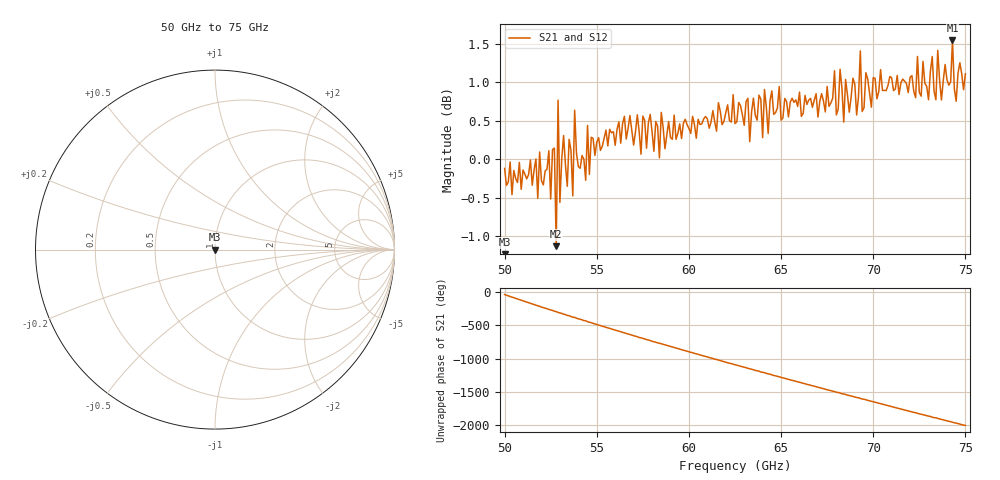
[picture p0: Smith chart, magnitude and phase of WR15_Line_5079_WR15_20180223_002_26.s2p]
# GHZ S RI R 50
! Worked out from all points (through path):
!   251 points, 50 GHz to 75 GHz, reference 50 ohm
!   highest |S21| = 1.54 dB at 74.3 GHz (marker M1); lowest = -1.1 dB at 52.8 GHz (marker M2)
!   lowest |S11| = - dB at 50 GHz (marker M3), VSWR 1.00, Z = 50 - j3.7e-16 ohm
!   |S11| at or under -10 dB: start of sweep to end of sweep
!   |S22| runs from - to - dB; largest |S21 - S12| = 1e-14
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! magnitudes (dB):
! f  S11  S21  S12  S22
! 50 GHz  -  -0.1  -0.1  -
! 52.4 GHz  -  0.1  0.1  -
! 52.5 GHz  -  -0.5  -0.5  -
! 52.7 GHz  -  0.1  0.1  -
! 52.8 GHz  -  -1.1  -1.1  -
! 52.9 GHz  -  0.8  0.8  -
! 53 GHz  -  -0.6  -0.6  -
! 53.2 GHz  -  0.3  0.3  -
! 53.7 GHz  -  -0.5  -0.5  -
! 53.8 GHz  -  0.6  0.6  -
! 54.2 GHz  -  0.0  0.0  -
! 58.4 GHz  -  0.0  0.0  -
! 58.5 GHz  -  0.6  0.6  -
! 62.5 GHz  -  0.5  0.5  -
! 66.7 GHz  -  0.7  0.7  -
! 70.9 GHz  -  1.1  1.1  -
! 73.4 GHz  -  0.8  0.8  -
! 73.5 GHz  -  1.4  1.4  -
! 73.7 GHz  -  0.8  0.8  -
! 74.3 GHz  -  1.5  1.5  -
! 74.5 GHz  -  0.8  0.8  -
! 75 GHz  -  1.1  1.1  -
